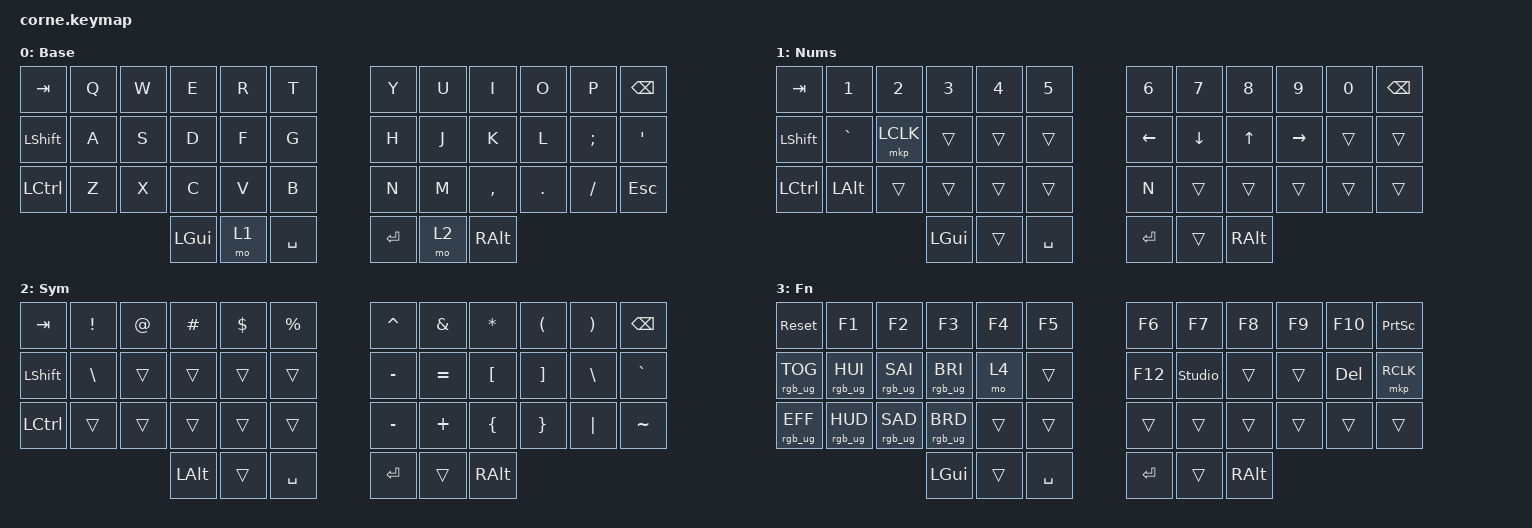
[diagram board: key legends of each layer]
/*
 * Copyright (c) 2020 The ZMK Contributors
 *
 * SPDX-License-Identifier: MIT
 */

#include <behaviors.dtsi>
#include <dt-bindings/zmk/keys.h>
#include <dt-bindings/zmk/bt.h>
#include <dt-bindings/zmk/pointing.h>
#include <dt-bindings/zmk/rgb.h>

&led_strip {
        chain-length = <21>;
};

/ {
        conditional_layers {
                compatible = "zmk,conditional-layers";
                tri_layer {
                        if-layers = <1 2>;
                        then-layer = <3>;
                };
        };

        keymap {
                compatible = "zmk,keymap";

                default_layer {
                        display-name = "Base";
                        bindings = <
   &kp TAB   &kp Q &kp W &kp E &kp R &kp T   &kp Y &kp U  &kp I     &kp O   &kp P    &kp BSPC
   &kp LSHFT &kp A &kp S &kp D &kp F &kp G   &kp H &kp J  &kp K     &kp L   &kp SEMI &kp SQT
   &kp LCTRL &kp Z &kp X &kp C &kp V &kp B   &kp N &kp M  &kp COMMA &kp DOT &kp FSLH &kp ESC
                  &kp LGUI &mo 1 &kp SPACE   &kp RET &mo 2 &kp RALT
                        >;
                };
                lower_layer {
                        display-name = "Nums";
                        bindings = <
   &kp TAB   &kp N1 &kp N2 &kp N3 &kp N4 &kp N5   &kp N6 &kp N7 &kp N8 &kp N9 &kp N0 &kp BSPC
   &kp LSHFT &kp GRAVE &mkp LCLK &trans &trans &trans   &kp LEFT &kp DOWN &kp UP &kp RIGHT &trans &trans
   &kp LCTRL &kp LALT &trans &trans &trans &trans   &kp N &trans &trans &trans &trans &trans
                  &kp LGUI &trans &kp SPACE   &kp RET &trans &kp RALT
                        >;
                };

                raise_layer {
                        display-name = "Sym";
                        bindings = <
   &kp TAB &kp EXCL &kp AT &kp HASH &kp DLLR &kp PRCNT   &kp CARET &kp AMPS &kp ASTRK &kp LPAR &kp RPAR &kp BSPC
   &kp LSHFT &kp BSLH &trans &trans &trans &trans   &kp MINUS &kp EQUAL &kp LBKT &kp RBKT &kp BSLH &kp GRAVE
   &kp LCTRL &trans &trans &trans &trans &trans   &kp MINUS &kp PLUS &kp LBRC &kp RBRC &kp PIPE &kp TILDE
                  &kp LALT &trans &kp SPACE   &kp RET &trans &kp RALT
                        >;
                };

                adjust_layer {
                        display-name = "Fn";
                        bindings = <
   &sys_reset &kp F1 &kp F2 &kp F3 &kp F4 &kp F5   &kp F6 &kp F7 &kp F8 &kp F9 &kp F10 &kp PSCRN
   &rgb_ug RGB_TOG &rgb_ug RGB_HUI &rgb_ug RGB_SAI &rgb_ug RGB_BRI &mo 4 &trans   &kp F12 &studio_unlock &trans &trans &kp DEL &mkp RCLK
   &rgb_ug RGB_EFF &rgb_ug RGB_HUD &rgb_ug RGB_SAD &rgb_ug RGB_BRD &trans &trans   &trans &trans &trans &trans &trans &trans
                  &kp LGUI &trans &kp SPACE   &kp RET &trans &kp RALT
                        >;
                };
        };
};
